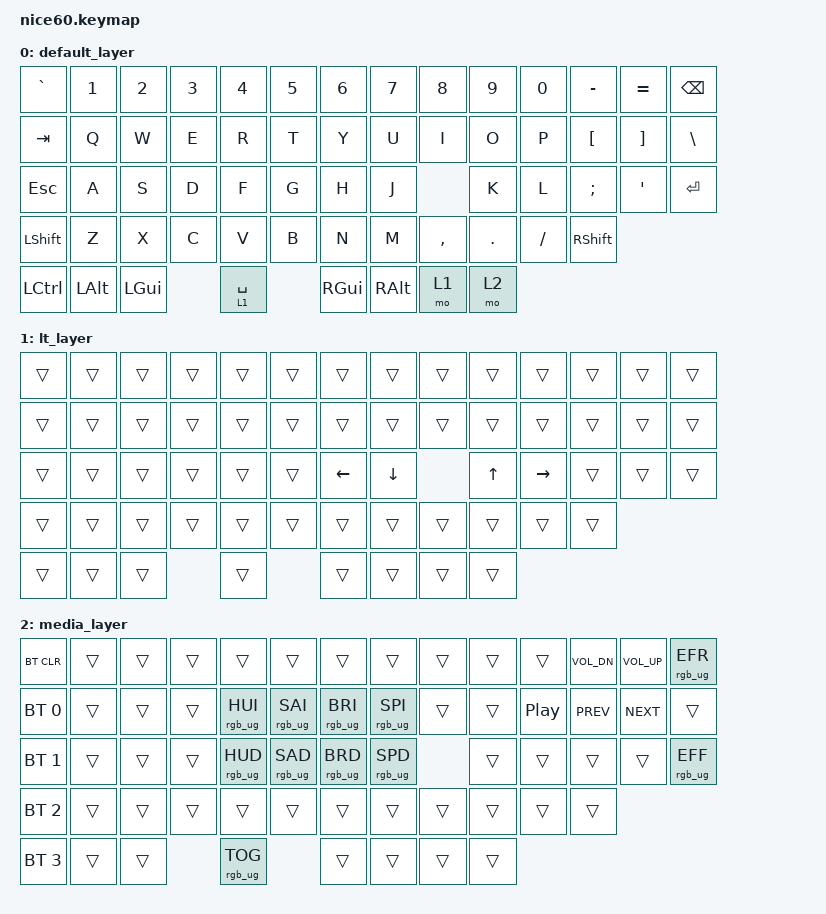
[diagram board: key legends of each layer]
/*
 * Copyright (c) 2021 Nick Winans
 *
 * SPDX-License-Identifier: MIT
 */

#include <behaviors.dtsi>
#include <dt-bindings/zmk/keys.h>
#include <dt-bindings/zmk/rgb.h>
#include <dt-bindings/zmk/bt.h>
#include <dt-bindings/zmk/outputs.h>
#include <dt-bindings/zmk/reset.h>
#include <dt-bindings/zmk/ext_power.h>

&mt {    tapping-term-ms = <200>;};

/ {
	keymap {
		compatible = "zmk,keymap";
		
		default_layer {
// ------------------------------------------------------------------------------------------
// | `   |  1  |  2  |  3  |  4  |  5  |  6  |  7  |  8  |  9  |  0  |  -  |  =  |   BKSP   |
// | TAB  |  Q  |  W  |  E  |  R  |  T  |  Y  |  U  |  I  |  O  |  P  |  [  |  ]  |   "|"   |
// | ESC   |  A  |  S  |  D  |  F  |  G  |  H  |  J  |  K  |  L  |  ;  |  '  |     ENTER    |
// |  SHIFT  |  Z  |  X  |  C  |  V  |  B  |  N  |  M  |  ,  |  .  |  /  |      SHIFT       |
// |  CTL  |  ALT  |  WIN  |          LT(1,SPACE)          |  WIN  |  ALT  |  MO(1) | MO(2) |
// ------------------------------------------------------------------------------------------
			bindings = <
	&kp GRAVE &kp N1 &kp N2 &kp N3 &kp N4 &kp N5 &kp N6 &kp N7 &kp N8 &kp N9 &kp N0 &kp MINUS &kp EQUAL  &kp BSPC
	&kp TAB  &kp Q  &kp W  &kp E  &kp R  &kp T  &kp Y  &kp U  &kp I  &kp O  &kp P  &kp LBKT  &kp RBKT  &kp BSLH
	&kp ESC  &kp A  &kp S  &kp D  &kp F  &kp G  &kp H  &kp J  &kp K  &kp L  &kp SEMI &kp SQT           &kp RET
	&kp LSHFT   &kp Z  &kp X  &kp C  &kp V  &kp B  &kp N  &kp M  &kp COMMA &kp DOT &kp FSLH           &kp RSHFT
	&kp LCTRL &kp LALT &kp LGUI             &lt 1 SPACE                   &kp RGUI  &kp RALT  &mo 1   &mo 2
			>;
		};

		lt_layer {
			bindings = <
	&trans &trans &trans &trans &trans &trans &trans &trans &trans &trans &trans &trans &trans &trans
	&trans &trans &trans &trans &trans &trans &trans &trans &trans &trans &trans &trans &trans &trans
	&trans &trans &trans &trans &trans &trans &kp LEFT &kp DOWN &kp UP &kp RIGHT &trans &trans &trans
	&trans &trans &trans &trans &trans &trans &trans &trans &trans &trans &trans &trans
	&trans &trans &trans        &trans        &trans &trans &trans &trans
			>;
		};

		media_layer {
// ------------------------------------------------------------------------------------------------
// | BT CLR |     |     |     |     |     |     |     |     |     |    | VOL- | VOL+ | EFFECT REV |
// |  BT 1   |   |    |   | HUEUP | SATUP | BRIUP | SPDUP |   |     | PLAY | PREV | NEXT |       |
// |   BT 2   |   |      |    | HUEDN | SATDN | BRIDN | SPDDN |   |     |   |     |  EFFECT FORW |
// |    BT 3     |     |      |      |     |     |     |     |     |     |     |                  |
// |   BT 4  |      |      |             TOG RGB                |         |       |       |       |
// ------------------------------------------------------------------------------------------------
			bindings = <
	&bt BT_CLR   &trans    &trans    &trans  &trans           &trans          &trans          &trans          &trans   &trans   &trans  &kp C_VOL_DN &kp C_VOL_UP  &rgb_ug RGB_EFR
	&bt BT_SEL 0  &trans    &trans    &trans  &rgb_ug RGB_HUI  &rgb_ug RGB_SAI &rgb_ug RGB_BRI &rgb_ug RGB_SPI  &trans   &trans   &kp C_PP   &kp C_PREV  &kp C_NEXT          &trans
	&bt BT_SEL 1   &trans  &trans  &trans &rgb_ug RGB_HUD &rgb_ug RGB_SAD &rgb_ug RGB_BRD &rgb_ug RGB_SPD &trans   &trans   &trans   &trans        &rgb_ug RGB_EFF
	&bt BT_SEL 2    &trans    &trans    &trans   &trans          &trans          &trans          &trans          &trans   &trans   &trans                          &trans
	&bt BT_SEL 3  &trans   &trans                            &rgb_ug RGB_TOG                                      &trans      &trans      &trans               &trans
			>;
		};
	};
};
